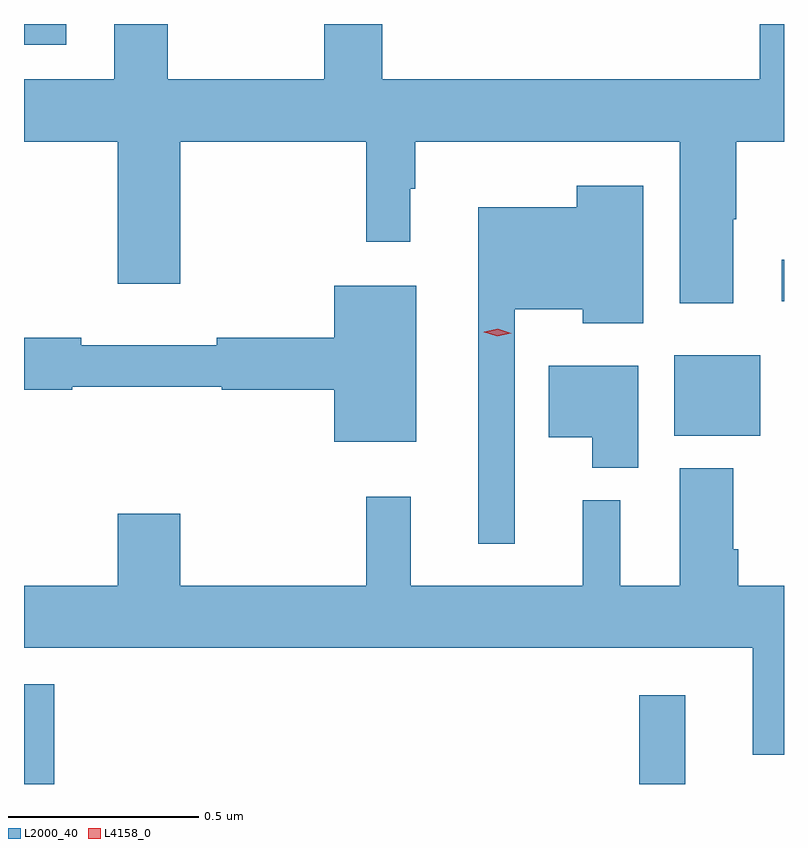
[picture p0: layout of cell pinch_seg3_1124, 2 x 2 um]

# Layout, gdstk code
import gdstk
lib = gdstk.Library(unit=1e-6, precision=1e-09)
def R(c, l, rs):  # rectangles x0, y0, x1, y1
    for r in rs: c.add(gdstk.rectangle(r[:2], r[2:], *l))
def P(c, l, *ps):  # polygons
    for p in ps: c.add(gdstk.Polygon(p, *l))
L2000_40 = (2000, 40)
L4158_0 = (4158, 0)

pinch_seg3_1124 = lib.new_cell('pinch_seg3_1124')
R(pinch_seg3_1124, L2000_40, [(344.581,741.85,344.66,742.113), (346.2,741.85,346.321,742.084), (346.292,742.766,346.519,742.978), (346.575,743.12,346.581,743.23), (344.581,743.795,344.692,743.85)])
P(pinch_seg3_1124, L2000_40, [(346.447,743.336),(346.455,743.336),(346.455,743.54),(346.581,743.54),(346.581,743.85),(346.517,743.85),(346.517,743.704),(345.524,743.704),(345.524,743.85),(345.371,743.85),(345.371,743.704),(344.959,743.704),(344.959,743.85),(344.819,743.85),(344.819,743.704),(344.581,743.704),(344.581,743.54),(344.828,743.54),(344.828,743.166),(344.992,743.166),(344.992,743.54),(345.481,743.54),(345.481,743.277),(345.598,743.277),(345.598,743.417),(345.61,743.417),(345.61,743.54),(346.307,743.54),(346.307,743.115),(346.447,743.115)],
  [(345.873,743.099),(346.052,743.099),(346.052,743.063),(346.21,743.063),(346.21,743.425),(346.035,743.425),(346.035,743.368),(345.776,743.368),(345.776,742.482),(345.873,742.482)],
  [(345.613,743.161),(345.398,743.161),(345.398,743.024),(345.088,743.024),(345.088,743.005),(344.732,743.005),(344.732,743.024),(344.581,743.024),(344.581,742.888),(344.708,742.888),(344.708,742.896),(345.102,742.896),(345.102,742.888),(345.398,742.888),(345.398,742.751),(345.613,742.751)],
  [(346.198,742.951),(345.962,742.951),(345.962,742.763),(346.076,742.763),(346.076,742.682),(346.198,742.682)],
  [(346.581,742.372),(346.46,742.372),(346.46,742.468),(346.447,742.468),(346.447,742.681),(346.307,742.681),(346.307,742.372),(346.15,742.372),(346.15,742.597),(346.052,742.597),(346.052,742.372),(345.599,742.372),(345.599,742.606),(345.481,742.606),(345.481,742.372),(344.992,742.372),(344.992,742.561),(344.828,742.561),(344.828,742.372),(344.581,742.372),(344.581,742.208),(346.499,742.208),(346.499,741.927),(346.581,741.927)])
P(pinch_seg3_1124, L4158_0, [(345.827,743.028),(345.792,743.039),(345.791,743.039),(345.792,743.04),(345.828,743.048),(345.863,743.036),(345.863,743.036),(345.863,743.036)])

lib.write_gds('pinch_seg3_1124.gds')
